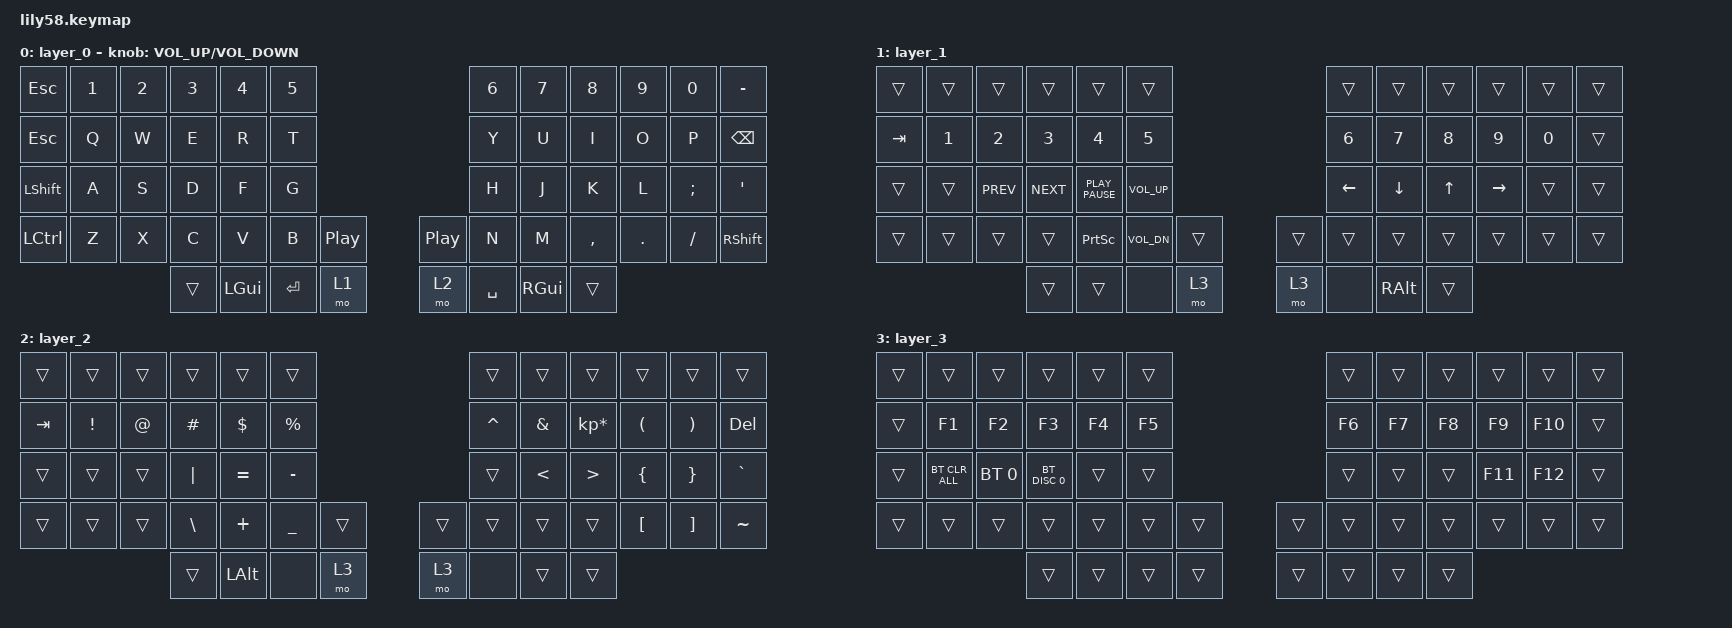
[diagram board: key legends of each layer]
#include <behaviors.dtsi>
#include <dt-bindings/zmk/bt.h>
#include <dt-bindings/zmk/keys.h>

/ {
    keymap {
        compatible = "zmk,keymap";

        layer_0 {
            bindings = <
&kp ESC    &kp N1  &kp N2  &kp N3  &kp N4    &kp N5                                           &kp N6     &kp N7    &kp N8     &kp N9   &kp N0    &kp MINUS
&kp ESC    &kp Q   &kp W   &kp E   &kp R     &kp T                                            &kp Y      &kp U     &kp I      &kp O    &kp P     &kp BSPC
&kp LSHFT  &kp A   &kp S   &kp D   &kp F     &kp G                                            &kp H      &kp J     &kp K      &kp L    &kp SEMI  &kp SQT
&kp LCTRL  &kp Z   &kp X   &kp C   &kp V     &kp B      &kp C_PLAY_PAUSE    &kp C_PLAY_PAUSE  &kp N      &kp M     &kp COMMA  &kp DOT  &kp FSLH  &kp RSHFT
                           &trans  &kp LGUI  &kp ENTER  &mo 1               &mo 2             &kp SPACE  &kp RGUI  &trans
            >;

            sensor-bindings = <&inc_dec_kp C_VOLUME_UP C_VOLUME_DOWN>;
        };

        layer_1 {
            bindings = <
&trans   &trans  &trans      &trans      &trans            &trans                             &trans    &trans    &trans  &trans     &trans  &trans
&kp TAB  &kp N1  &kp N2      &kp N3      &kp N4            &kp N5                             &kp N6    &kp N7    &kp N8  &kp N9     &kp N0  &trans
&trans   &trans  &kp K_PREV  &kp K_NEXT  &kp K_PLAY_PAUSE  &kp C_VOLUME_UP                    &kp LEFT  &kp DOWN  &kp UP  &kp RIGHT  &trans  &trans
&trans   &trans  &trans      &trans      &kp PSCRN         &kp C_VOL_DN     &trans    &trans  &trans    &trans    &trans  &trans     &trans  &trans
                             &trans      &trans            &none            &mo 3     &mo 3   &none     &kp RALT  &trans
            >;
        };

        layer_2 {
            bindings = <
&trans   &trans    &trans  &trans         &trans     &trans                       &trans     &trans    &trans            &trans    &trans    &trans
&kp TAB  &kp EXCL  &kp AT  &kp HASH       &kp DLLR   &kp PRCNT                    &kp CARET  &kp AMPS  &kp KP_MULTIPLY   &kp LPAR  &kp RPAR  &kp DEL
&trans   &trans    &trans  &kp PIPE       &kp EQUAL  &kp MINUS                    &trans     &kp LT    &kp GREATER_THAN  &kp LBRC  &kp RBRC  &kp GRAVE
&trans   &trans    &trans  &kp BACKSLASH  &kp PLUS   &kp UNDER  &trans    &trans  &trans     &trans    &trans            &kp LBKT  &kp RBKT  &kp TILDE
                           &trans         &kp LALT   &none      &mo 3     &mo 3   &none      &trans    &trans
            >;
        };

        layer_3 {
            bindings = <
&trans  &trans          &trans        &trans         &trans  &trans                    &trans  &trans  &trans  &trans   &trans   &trans
&trans  &kp F1          &kp F2        &kp F3         &kp F4  &kp F5                    &kp F6  &kp F7  &kp F8  &kp F9   &kp F10  &trans
&trans  &bt BT_CLR_ALL  &bt BT_SEL 0  &bt BT_DISC 0  &trans  &trans                    &trans  &trans  &trans  &kp F11  &kp F12  &trans
&trans  &trans          &trans        &trans         &trans  &trans  &trans    &trans  &trans  &trans  &trans  &trans   &trans   &trans
                                      &trans         &trans  &trans  &trans    &trans  &trans  &trans  &trans
            >;
        };
    };
};
